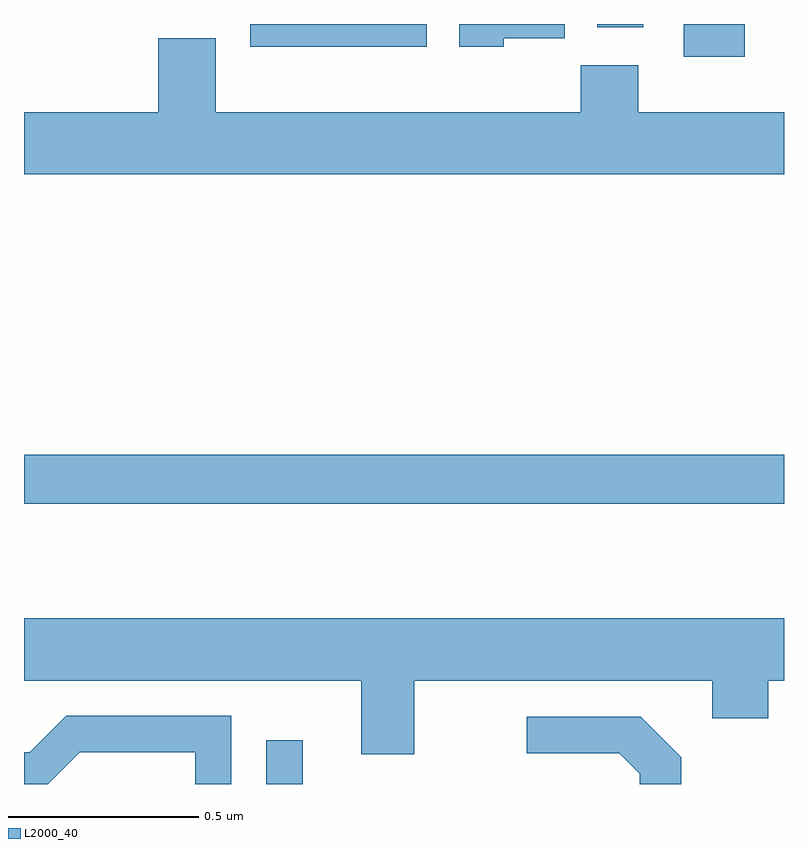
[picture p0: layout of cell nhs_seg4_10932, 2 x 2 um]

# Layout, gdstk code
import gdstk
lib = gdstk.Library(unit=1e-6, precision=1e-09)
def R(c, l, rs):  # rectangles x0, y0, x1, y1
    for r in rs: c.add(gdstk.rectangle(r[:2], r[2:], *l))
def P(c, l, *ps):  # polygons
    for p in ps: c.add(gdstk.Polygon(p, *l))
L2000_40 = (2000, 40)

nhs_seg4_10932 = lib.new_cell('nhs_seg4_10932')
R(nhs_seg4_10932, L2000_40, [(246.637,777.9,246.733,778.015), (246,778.638,248,778.766), (247.736,779.814,247.897,779.9), (246.596,779.84,247.06,779.9), (247.508,779.892,247.63,779.9)])
P(nhs_seg4_10932, L2000_40, [(247.263,779.862),(247.423,779.862),(247.423,779.9),(247.145,779.9),(247.145,779.84),(247.263,779.84)],
  [(248,779.668),(247.617,779.668),(247.617,779.792),(247.465,779.792),(247.465,779.668),(246.505,779.668),(246.505,779.863),(246.353,779.863),(246.353,779.668),(246,779.668),(246,779.504),(248,779.504)],
  [(247.027,778.172),(247.811,778.172),(247.811,778.073),(247.959,778.073),(247.959,778.172),(248,778.172),(248,778.336),(246,778.336),(246,778.172),(246.887,778.172),(246.887,777.978),(247.027,777.978)],
  [(246.147,777.984),(246.45,777.984),(246.45,777.9),(246.546,777.9),(246.546,778.08),(246.111,778.08),(246.015,777.984),(246,777.984),(246,777.9),(246.063,777.9)],
  [(247.729,777.971),(247.623,778.077),(247.323,778.077),(247.323,777.981),(247.566,777.981),(247.62,777.927),(247.62,777.9),(247.729,777.9)])

lib.write_gds('nhs_seg4_10932.gds')
